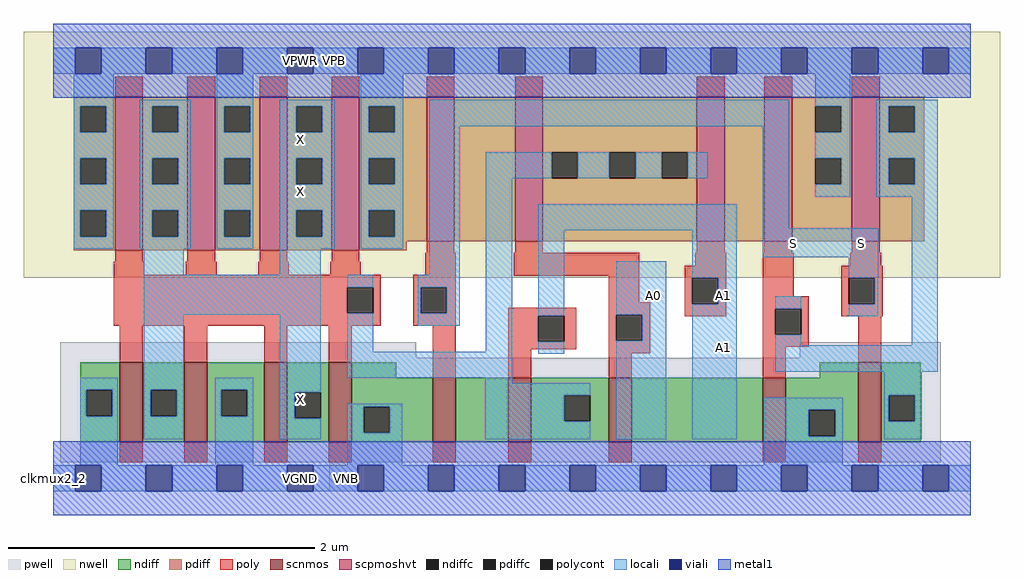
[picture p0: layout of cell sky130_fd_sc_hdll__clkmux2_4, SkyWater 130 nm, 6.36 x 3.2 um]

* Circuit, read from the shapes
.subckt sky130_fd_sc_hdll__clkmux2_4 A0 A1 S VGND VNB VPB VPWR X
XM1 X n1 VGND VNB sky130_fd_pr__nfet_01v8 w=0.52 l=0.15 m=4
XM2 n2 S VGND VNB sky130_fd_pr__nfet_01v8 w=0.42 l=0.15
XM3 n1 A1 n2 VNB sky130_fd_pr__nfet_01v8 w=0.42 l=0.15
XM4 n3 A0 n1 VNB sky130_fd_pr__nfet_01v8 w=0.42 l=0.15
XM5 VGND n4 n3 VNB sky130_fd_pr__nfet_01v8 w=0.42 l=0.15
XM6 n4 S VGND VNB sky130_fd_pr__nfet_01v8 w=0.52 l=0.15
XM7 X n1 VPWR VPB sky130_fd_pr__pfet_01v8_hvt w=1 l=0.18 m=4
XM8 n5 S VPWR VPB sky130_fd_pr__pfet_01v8_hvt w=0.94 l=0.18
XM9 n1 A0 n5 VPB sky130_fd_pr__pfet_01v8_hvt w=0.94 l=0.18
XM10 n6 A1 n1 VPB sky130_fd_pr__pfet_01v8_hvt w=0.94 l=0.18
XM11 VPWR n4 n6 VPB sky130_fd_pr__pfet_01v8_hvt w=0.94 l=0.18
XM12 n4 S VPWR VPB sky130_fd_pr__pfet_01v8_hvt w=0.94 l=0.18
.ends

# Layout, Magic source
magic
tech sky130A
magscale 1 2
<< nwell >>
rect -38 261 1234 582
<< pwell >>
rect 9 157 473 177
rect 973 157 1157 177
rect 9 21 1157 157
rect 360 -17 404 21
<< scnmos >>
rect 87 47 117 151
rect 171 47 201 151
rect 275 47 305 151
rect 359 47 389 151
rect 495 47 525 131
rect 593 47 623 131
rect 724 47 754 131
rect 925 47 955 131
rect 1049 47 1079 151
<< scpmoshvt >>
rect 81 297 117 497
rect 175 297 211 497
rect 269 297 305 497
rect 363 297 399 497
rect 487 309 523 497
rect 602 309 638 497
rect 839 309 875 497
rect 927 309 963 497
rect 1041 309 1077 497
<< ndiff >>
rect 35 115 87 151
rect 35 81 43 115
rect 77 81 87 115
rect 35 47 87 81
rect 117 115 171 151
rect 117 81 127 115
rect 161 81 171 115
rect 117 47 171 81
rect 201 115 275 151
rect 201 81 219 115
rect 253 81 275 115
rect 201 47 275 81
rect 305 112 359 151
rect 305 78 315 112
rect 349 78 359 112
rect 305 47 359 78
rect 389 131 447 151
rect 999 131 1049 151
rect 389 93 495 131
rect 389 59 405 93
rect 439 59 495 93
rect 389 47 495 59
rect 525 47 593 131
rect 623 108 724 131
rect 623 74 666 108
rect 700 74 724 108
rect 623 47 724 74
rect 754 47 925 131
rect 955 89 1049 131
rect 955 55 985 89
rect 1019 55 1049 89
rect 955 47 1049 55
rect 1079 108 1131 151
rect 1079 74 1089 108
rect 1123 74 1131 108
rect 1079 47 1131 74
<< pdiff >>
rect 27 485 81 497
rect 27 451 35 485
rect 69 451 81 485
rect 27 417 81 451
rect 27 383 35 417
rect 69 383 81 417
rect 27 349 81 383
rect 27 315 35 349
rect 69 315 81 349
rect 27 297 81 315
rect 117 485 175 497
rect 117 451 129 485
rect 163 451 175 485
rect 117 417 175 451
rect 117 383 129 417
rect 163 383 175 417
rect 117 349 175 383
rect 117 315 129 349
rect 163 315 175 349
rect 117 297 175 315
rect 211 485 269 497
rect 211 451 223 485
rect 257 451 269 485
rect 211 417 269 451
rect 211 383 223 417
rect 257 383 269 417
rect 211 349 269 383
rect 211 315 223 349
rect 257 315 269 349
rect 211 297 269 315
rect 305 485 363 497
rect 305 451 317 485
rect 351 451 363 485
rect 305 417 363 451
rect 305 383 317 417
rect 351 383 363 417
rect 305 349 363 383
rect 305 315 317 349
rect 351 315 363 349
rect 305 297 363 315
rect 399 485 487 497
rect 399 451 411 485
rect 445 451 487 485
rect 399 417 487 451
rect 399 383 411 417
rect 445 383 487 417
rect 399 349 487 383
rect 399 315 411 349
rect 445 315 487 349
rect 399 309 487 315
rect 523 309 602 497
rect 638 425 839 497
rect 638 391 650 425
rect 684 391 725 425
rect 759 391 793 425
rect 827 391 839 425
rect 638 309 839 391
rect 875 309 927 497
rect 963 485 1041 497
rect 963 451 993 485
rect 1027 451 1041 485
rect 963 417 1041 451
rect 963 383 993 417
rect 1027 383 1041 417
rect 963 309 1041 383
rect 1077 485 1135 497
rect 1077 451 1089 485
rect 1123 451 1135 485
rect 1077 417 1135 451
rect 1077 383 1089 417
rect 1123 383 1135 417
rect 1077 309 1135 383
rect 399 297 461 309
<< ndiffc >>
rect 43 81 77 115
rect 127 81 161 115
rect 219 81 253 115
rect 315 78 349 112
rect 405 59 439 93
rect 666 74 700 108
rect 985 55 1019 89
rect 1089 74 1123 108
<< pdiffc >>
rect 35 451 69 485
rect 35 383 69 417
rect 35 315 69 349
rect 129 451 163 485
rect 129 383 163 417
rect 129 315 163 349
rect 223 451 257 485
rect 223 383 257 417
rect 223 315 257 349
rect 317 451 351 485
rect 317 383 351 417
rect 317 315 351 349
rect 411 451 445 485
rect 411 383 445 417
rect 411 315 445 349
rect 650 391 684 425
rect 725 391 759 425
rect 793 391 827 425
rect 993 451 1027 485
rect 993 383 1027 417
rect 1089 451 1123 485
rect 1089 383 1123 417
<< poly >>
rect 81 497 117 523
rect 175 497 211 523
rect 269 497 305 523
rect 363 497 399 523
rect 487 497 523 523
rect 602 497 638 523
rect 839 497 875 523
rect 927 497 963 523
rect 1041 497 1077 523
rect 81 282 117 297
rect 175 282 211 297
rect 269 282 305 297
rect 363 282 399 297
rect 487 294 523 309
rect 602 294 638 309
rect 839 294 875 309
rect 927 294 963 309
rect 1041 294 1077 309
rect 79 265 119 282
rect 173 265 213 282
rect 267 265 307 282
rect 361 265 401 282
rect 485 265 525 294
rect 79 249 427 265
rect 79 215 383 249
rect 417 215 427 249
rect 79 199 427 215
rect 469 249 525 265
rect 600 264 764 294
rect 837 277 877 294
rect 469 215 479 249
rect 513 215 525 249
rect 724 229 764 264
rect 823 261 877 277
rect 469 199 525 215
rect 87 151 117 199
rect 171 151 201 199
rect 275 151 305 199
rect 359 151 389 199
rect 495 131 525 199
rect 593 212 682 222
rect 593 178 632 212
rect 666 178 682 212
rect 593 168 682 178
rect 724 213 778 229
rect 724 179 734 213
rect 768 179 778 213
rect 823 227 833 261
rect 867 227 877 261
rect 823 211 877 227
rect 925 237 965 294
rect 1039 277 1079 294
rect 1027 261 1081 277
rect 925 221 985 237
rect 593 131 623 168
rect 724 163 778 179
rect 925 187 941 221
rect 975 187 985 221
rect 1027 227 1037 261
rect 1071 227 1081 261
rect 1027 211 1081 227
rect 925 171 985 187
rect 724 131 754 163
rect 925 131 955 171
rect 1049 151 1079 211
rect 87 21 117 47
rect 171 21 201 47
rect 275 21 305 47
rect 359 21 389 47
rect 495 21 525 47
rect 593 21 623 47
rect 724 21 754 47
rect 925 21 955 47
rect 1049 21 1079 47
<< polycont >>
rect 383 215 417 249
rect 479 215 513 249
rect 632 178 666 212
rect 734 179 768 213
rect 833 227 867 261
rect 941 187 975 221
rect 1037 227 1071 261
<< locali >>
rect 0 527 29 561
rect 63 527 121 561
rect 155 527 213 561
rect 247 527 305 561
rect 339 527 397 561
rect 431 527 489 561
rect 523 527 581 561
rect 615 527 673 561
rect 707 527 765 561
rect 799 527 857 561
rect 891 527 949 561
rect 983 527 1041 561
rect 1075 527 1133 561
rect 1167 527 1196 561
rect 27 485 79 527
rect 27 451 35 485
rect 69 451 79 485
rect 27 417 79 451
rect 27 383 35 417
rect 69 383 79 417
rect 27 349 79 383
rect 27 315 35 349
rect 69 315 79 349
rect 27 299 79 315
rect 113 485 179 493
rect 113 451 129 485
rect 163 451 179 485
rect 113 417 179 451
rect 113 383 129 417
rect 163 383 179 417
rect 113 349 179 383
rect 113 315 129 349
rect 163 315 179 349
rect 113 299 179 315
rect 213 485 261 527
rect 213 451 223 485
rect 257 451 261 485
rect 213 417 261 451
rect 213 383 223 417
rect 257 383 261 417
rect 213 349 261 383
rect 213 315 223 349
rect 257 315 261 349
rect 213 299 261 315
rect 295 485 367 493
rect 295 451 317 485
rect 351 451 367 485
rect 295 417 367 451
rect 295 383 317 417
rect 351 383 367 417
rect 295 349 367 383
rect 295 315 317 349
rect 351 315 367 349
rect 295 299 367 315
rect 401 485 456 527
rect 401 451 411 485
rect 445 451 456 485
rect 401 417 456 451
rect 401 383 411 417
rect 445 383 456 417
rect 401 349 456 383
rect 401 315 411 349
rect 445 315 456 349
rect 401 299 456 315
rect 490 459 959 493
rect 118 265 170 299
rect 295 265 349 299
rect 490 265 530 459
rect 118 213 349 265
rect 35 115 84 131
rect 35 81 43 115
rect 77 81 84 115
rect 35 17 84 81
rect 118 115 170 213
rect 118 81 127 115
rect 161 81 170 115
rect 118 51 170 81
rect 211 115 261 131
rect 211 81 219 115
rect 253 81 261 115
rect 211 17 261 81
rect 295 112 349 213
rect 383 249 417 265
rect 383 165 417 215
rect 475 249 530 265
rect 475 215 479 249
rect 513 215 530 249
rect 475 199 530 215
rect 564 391 650 425
rect 684 391 725 425
rect 759 391 793 425
rect 827 391 853 425
rect 564 165 598 391
rect 383 131 598 165
rect 632 323 891 357
rect 632 212 666 323
rect 632 162 666 178
rect 734 213 799 283
rect 768 179 799 213
rect 295 78 315 112
rect 563 124 598 131
rect 563 108 700 124
rect 295 51 349 78
rect 383 93 455 97
rect 383 59 405 93
rect 439 59 455 93
rect 383 17 455 59
rect 563 74 666 108
rect 563 51 700 74
rect 734 51 799 179
rect 833 261 891 323
rect 925 326 959 459
rect 993 485 1039 527
rect 1027 451 1039 485
rect 993 417 1039 451
rect 1027 383 1039 417
rect 993 367 1039 383
rect 1073 485 1153 493
rect 1073 451 1089 485
rect 1123 451 1153 485
rect 1073 417 1153 451
rect 1073 383 1089 417
rect 1123 383 1153 417
rect 1073 367 1153 383
rect 925 288 1075 326
rect 867 227 891 261
rect 1037 261 1075 288
rect 833 51 891 227
rect 941 221 975 237
rect 1071 227 1075 261
rect 1037 211 1075 227
rect 941 173 975 187
rect 1119 173 1153 367
rect 941 139 1153 173
rect 1083 108 1132 139
rect 926 89 1029 105
rect 926 55 985 89
rect 1019 55 1029 89
rect 926 17 1029 55
rect 1083 74 1089 108
rect 1123 74 1132 108
rect 1083 51 1132 74
rect 0 -17 29 17
rect 63 -17 121 17
rect 155 -17 213 17
rect 247 -17 305 17
rect 339 -17 397 17
rect 431 -17 489 17
rect 523 -17 581 17
rect 615 -17 673 17
rect 707 -17 765 17
rect 799 -17 857 17
rect 891 -17 949 17
rect 983 -17 1041 17
rect 1075 -17 1133 17
rect 1167 -17 1196 17
<< viali >>
rect 29 527 63 561
rect 121 527 155 561
rect 213 527 247 561
rect 305 527 339 561
rect 397 527 431 561
rect 489 527 523 561
rect 581 527 615 561
rect 673 527 707 561
rect 765 527 799 561
rect 857 527 891 561
rect 949 527 983 561
rect 1041 527 1075 561
rect 1133 527 1167 561
rect 29 -17 63 17
rect 121 -17 155 17
rect 213 -17 247 17
rect 305 -17 339 17
rect 397 -17 431 17
rect 489 -17 523 17
rect 581 -17 615 17
rect 673 -17 707 17
rect 765 -17 799 17
rect 857 -17 891 17
rect 949 -17 983 17
rect 1041 -17 1075 17
rect 1133 -17 1167 17
<< metal1 >>
rect 0 561 1196 592
rect 0 527 29 561
rect 63 527 121 561
rect 155 527 213 561
rect 247 527 305 561
rect 339 527 397 561
rect 431 527 489 561
rect 523 527 581 561
rect 615 527 673 561
rect 707 527 765 561
rect 799 527 857 561
rect 891 527 949 561
rect 983 527 1041 561
rect 1075 527 1133 561
rect 1167 527 1196 561
rect 0 496 1196 527
rect 0 17 1196 48
rect 0 -17 29 17
rect 63 -17 121 17
rect 155 -17 213 17
rect 247 -17 305 17
rect 339 -17 397 17
rect 431 -17 489 17
rect 523 -17 581 17
rect 615 -17 673 17
rect 707 -17 765 17
rect 799 -17 857 17
rect 891 -17 949 17
rect 983 -17 1041 17
rect 1075 -17 1133 17
rect 1167 -17 1196 17
rect 0 -48 1196 -17
<< labels >>
flabel metal1 s 306 -17 340 17 0 FreeSans 200 0 0 0 VGND
port 4 nsew ground bidirectional
flabel metal1 s 306 527 340 561 0 FreeSans 200 0 0 0 VPWR
port 7 nsew power bidirectional
flabel locali s 948 289 982 323 0 FreeSans 250 0 0 0 S
port 3 nsew signal input
flabel locali s 857 153 891 187 0 FreeSans 250 0 0 0 A1
port 2 nsew signal input
flabel locali s 857 221 891 255 0 FreeSans 250 0 0 0 A1
port 2 nsew signal input
flabel locali s 765 221 799 255 0 FreeSans 250 0 0 0 A0
port 1 nsew signal input
flabel locali s 305 85 339 119 0 FreeSans 250 0 0 0 X
port 8 nsew signal output
flabel locali s 305 357 339 391 0 FreeSans 250 0 0 0 X
port 8 nsew signal output
flabel locali s 305 425 339 459 0 FreeSans 250 0 0 0 X
port 8 nsew signal output
flabel locali s 1037 289 1071 323 0 FreeSans 250 0 0 0 S
port 3 nsew signal input
flabel nwell s 350 527 384 561 0 FreeSans 250 0 0 0 VPB
port 6 nsew power bidirectional
flabel pwell s 360 -17 404 17 0 FreeSans 250 0 0 0 VNB
port 5 nsew ground bidirectional
rlabel comment s 0 0 0 0 4 clkmux2_2
<< properties >>
string LEFsite unithd
string LEFclass CORE
string FIXED_BBOX 0 0 1196 544
string GDS_FILE $PDKPATH/libs.ref/sky130_fd_sc_hdll/gds/sky130_fd_sc_hdll.gds
string LEFsymmetry X Y R90
string GDS_END 1154444
string GDS_START 1145452
string LEFproperties maskLayoutSubType "abstract" prCellType "standard" originalViewName "layout"
<< end >>
